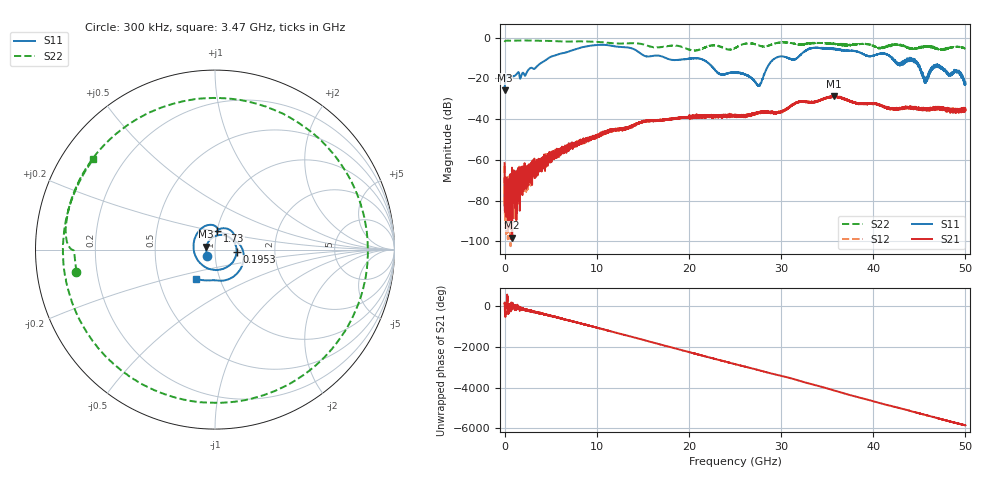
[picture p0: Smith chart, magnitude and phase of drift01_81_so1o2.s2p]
!Created with skrf (http://scikit-rf.org).
# Hz S RI R 50.0
!freq ReS11 ImS11 ReS21 ImS21 ReS12 ImS12 ReS22 ImS22
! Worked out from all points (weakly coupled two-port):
!   10001 points, 300 kHz to 50 GHz, reference 50 ohm
!   highest |S21| = -28.60 dB at 35.74 GHz (marker M1); lowest = -98.2 dB at 820.3 MHz (marker M2)
!   lowest |S11| = -25.8 dB at 5.3 MHz (marker M3), VSWR 1.11, Z = 45.3 + j1.41 ohm
!   |S11| at or under -10 dB: start of sweep to 4.766 GHz; 17.51 GHz to 29.37 GHz (11.86 GHz wide, 50.6 % of centre); 44.02 GHz to end of sweep (the widest 3 of 10)
!   |S22| runs from -6.4 to -1.4 dB; largest |S21 - S12| = 0.0045
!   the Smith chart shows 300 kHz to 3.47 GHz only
!   S11 on the Smith chart (normalised r, x): 300 kHz: 0.91, -0.07; 195.3 MHz: 1.27, -0.04; 1.73 GHz: 1.00, +0.21; 3.47 GHz: 0.77, -0.26
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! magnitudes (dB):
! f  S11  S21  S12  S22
! 300 kHz  -24.4  -61.6  -63.0  -2.1
! 5.3 MHz  -25.8  -72.3  -69.3  -2.1
! 195.3 MHz  -18.4  -71.7  -79.7  -1.4
! 820.3 MHz  -19.1  -98.2  -77.7  -1.5
! 1.73 GHz  -19.7  -63.6  -72.7  -1.4
! 3.47 GHz  -14.3  -65.2  -61.3  -1.5
! 8.335 GHz  -4.8  -51.0  -50.7  -1.8
! 16.67 GHz  -8.8  -40.8  -40.4  -4.8
! 21.22 GHz  -10.3  -38.9  -38.7  -5.7
! 23.39 GHz  -18.1  -38.5  -38.6  -4.2
! 25 GHz  -17.0  -38.2  -38.2  -5.0
! 27.6 GHz  -23.3  -37.0  -36.8  -3.8
! 29.28 GHz  -10.3  -37.0  -36.5  -2.9
! 31.48 GHz  -10.8  -32.1  -32.3  -2.9
! 33.34 GHz  -5.1  -31.7  -31.6  -2.7
! 35.74 GHz  -5.5  -28.6  -28.8  -3.2
! 41.67 GHz  -8.6  -34.3  -35.0  -4.0
! 42.79 GHz  -12.8  -34.9  -34.6  -3.5
! 44.47 GHz  -11.4  -34.6  -34.5  -5.4
! 45.63 GHz  -22.1  -35.2  -34.7  -4.4
! 46.94 GHz  -13.4  -34.2  -34.5  -5.5
! 50 GHz  -22.0  -34.9  -35.1  -5.3
